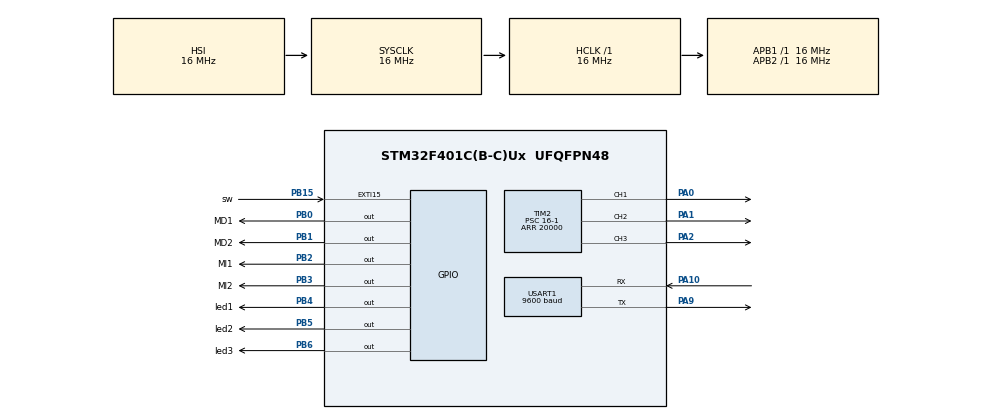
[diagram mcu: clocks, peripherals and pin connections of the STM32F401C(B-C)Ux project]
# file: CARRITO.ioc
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Mcu.Family=STM32F4
Mcu.Name=STM32F401C(B-C)Ux
Mcu.Package=UFQFPN48
NVIC.EXTI15_10_IRQn=true\:1\:0\:true\:false\:true\:true\:true\:true
NVIC.PriorityGroup=NVIC_PRIORITYGROUP_4
NVIC.TIM1_UP_TIM10_IRQn=true\:2\:0\:true\:false\:true\:true\:true\:true
PA0-WKUP.Signal=S_TIM2_CH1_ETR
PA1.Signal=S_TIM2_CH2
PA10.Mode=Asynchronous
PA10.Signal=USART1_RX
PA2.Signal=S_TIM2_CH3
PA9.Mode=Asynchronous
PA9.Signal=USART1_TX
PB0.GPIO_Label=MD1
PB0.Signal=GPIO_Output
PB1.GPIO_Label=MD2
PB1.Signal=GPIO_Output
PB15.GPIO_Label=sw
PB15.GPIO_ModeDefaultEXTI=GPIO_MODE_IT_RISING
PB15.GPIO_PuPd=GPIO_PULLUP
PB15.Signal=GPXTI15
PB2.GPIO_Label=MI1
PB2.Signal=GPIO_Output
PB3.GPIO_Label=MI2
PB3.Signal=GPIO_Output
PB4.GPIO_Label=led1
PB4.Signal=GPIO_Output
PB5.GPIO_Label=led2
PB5.Signal=GPIO_Output
PB6.GPIO_Label=led3
PB6.Signal=GPIO_Output
ProjectManager.HeapSize=0x200
ProjectManager.StackSize=0x400
ProjectManager.TargetToolchain=STM32CubeIDE
RCC.AHBFreq_Value=16000000
RCC.APB1Freq_Value=16000000
RCC.APB2Freq_Value=16000000
RCC.CortexFreq_Value=16000000
RCC.HSE_VALUE=25000000
RCC.HSI_VALUE=16000000
RCC.LSE_VALUE=32768
RCC.SYSCLKFreq_VALUE=16000000
RCC.VCOOutputFreq_Value=192000000
SH.S_TIM2_CH1_ETR.0=TIM2_CH1,PWM Generation1 CH1
SH.S_TIM2_CH2.0=TIM2_CH2,PWM Generation2 CH2
SH.S_TIM2_CH3.0=TIM2_CH3,PWM Generation3 CH3
TIM1.AutoReloadPreload=TIM_AUTORELOAD_PRELOAD_ENABLE
TIM1.Period=6400
TIM1.Prescaler=500-1
TIM2.Channel-PWM\ Generation1\ CH1=TIM_CHANNEL_1
TIM2.Channel-PWM\ Generation2\ CH2=TIM_CHANNEL_2
TIM2.Channel-PWM\ Generation3\ CH3=TIM_CHANNEL_3
TIM2.Period=20000
TIM2.Prescaler=16-1
USART1.BaudRate=9600
USART1.VirtualMode=VM_ASYNC
VP_TIM1_VS_ClockSourceINT.Mode=Internal
VP_TIM2_VS_ClockSourceINT.Mode=Internal
board=custom

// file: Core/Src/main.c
/* USER CODE BEGIN Header */
/**
  ******************************************************************************
  * @file           : main.c
  * @brief          : Main program body
  ******************************************************************************
  * @attention
  *
  * Copyright (c) 2023 STMicroelectronics.
  * All rights reserved.
  *
  * This software is licensed under terms that can be found in the LICENSE file
  * in the root directory of this software component.
  * If no LICENSE file comes with this software, it is provided AS-IS.
  *
  ******************************************************************************
  */
/* USER CODE END Header */
#include "main.h"

/* USER CODE BEGIN Includes */
#include "uart.h"
#include "servos.h"
#include "PWM.h"
#include "delays.h"
#include "stdio.h"
#include "string.h"

/* USER CODE END Includes */

TIM_HandleTypeDef htim1;
TIM_HandleTypeDef htim2;

UART_HandleTypeDef huart1;

/* USER CODE BEGIN PV */

uint8_t trama_rx[100];
uint8_t texto[100];
uint8_t captura[30];
int8_t  valor;

/* USER CODE END PV */

void SystemClock_Config(void);
static void MX_GPIO_Init(void);
static void MX_TIM2_Init(void);
static void MX_USART1_UART_Init(void);
static void MX_TIM1_Init(void);
/* USER CODE BEGIN PFP */

void md_atras()
{
HAL_GPIO_WritePin(MD1_GPIO_Port, MD1_Pin, 0);
HAL_GPIO_WritePin(MD2_GPIO_Port, MD2_Pin, 1);

}

void md_adelante()
{
HAL_GPIO_WritePin(MD1_GPIO_Port, MD1_Pin, 1);
HAL_GPIO_WritePin(MD2_GPIO_Port, MD2_Pin, 0);

}

void md_stop()
{
	HAL_GPIO_WritePin(MD1_GPIO_Port, MD1_Pin, 0);
	HAL_GPIO_WritePin(MD2_GPIO_Port, MD2_Pin, 0);

}

void mi_adelante()
{
HAL_GPIO_WritePin(MI1_GPIO_Port, MI1_Pin, 0);
HAL_GPIO_WritePin(MI2_GPIO_Port, MI2_Pin, 1);

}

void mi_atras()
{
HAL_GPIO_WritePin(MI1_GPIO_Port, MI1_Pin, 1);
HAL_GPIO_WritePin(MI2_GPIO_Port, MI2_Pin, 0);

}

void mi_stop()
{
	HAL_GPIO_WritePin(MI1_GPIO_Port, MI1_Pin, 0);
	HAL_GPIO_WritePin(MI2_GPIO_Port, MI2_Pin, 0);

}

void ADELANTE()
{
md_adelante();
mi_adelante();
}

void ATRAS()
{
md_atras();
mi_atras();
}

void DERECHA()
{
md_atras();
mi_adelante();

}

void IZQUIERDA()
{
md_adelante();
mi_atras();

}

void QUIETO ()
{
md_stop();
mi_stop();
}

void procesarx()
{
	if (strstr(trama_rx,"ADEL")) ADELANTE();
	else if (strstr(trama_rx,"ATRA")) ATRAS();
	else if (strstr(trama_rx,"STOP")) QUIETO();
	else if (strstr(trama_rx,"DER"))
		{
		DERECHA();
		HAL_Delay(50);
		QUIETO();
		}
	else if (strstr(trama_rx,"IZQ"))
		{
		IZQUIERDA();
		HAL_Delay(50);
	    QUIETO();
		}

	else if (strstr(trama_rx,"VEL="))
	{
      strcpy(texto, strtok(trama_rx, "="));  //inicia captura de tokens
      strcpy(texto, strtok(0, "/"));  //captura primer dato
       valor=atoi(texto);
        pwm_valor(&PWM1, valor);
         pwm_valor(&PWM2, valor);

       	}

	else if (strstr(trama_rx,"SER="))
		{
	      strcpy(texto, strtok(trama_rx, "="));  //inicia captura de tokens
	      strcpy(texto, strtok(0, "/"));  //captura primer dato
	       valor=atoi(texto);
	       SERVO_ANG(&SERVO1, valor);

	       	}

}

/* USER CODE END PFP */

int main(void)
{

  /* MCU Configuration--------------------------------------------------------*/

  /* Reset of all peripherals, Initializes the Flash interface and the Systick. */
  HAL_Init();

  /* Configure the system clock */
  SystemClock_Config();

  /* Initialize all configured peripherals */
  MX_GPIO_Init();
  MX_TIM2_Init();
  MX_USART1_UART_Init();
  MX_TIM1_Init();
  /* USER CODE BEGIN 2 */
  PWM_init(&PWMT2, PWM1_CH); //INICIA DEL TIMER1 EL CANALPWM1
  PWM_init(&PWMT2, PWM2_CH); //INICIA DEL TIMER 1 EL CANAL PWM2

   pwm_valor(&PWM1,100);
   pwm_valor(&PWM2, 100);

   SERVO_init(&PWMT2, SERVO1_CH);

   SERVO_ANG(&SERVO1, 0);

 uartx_write_text(&huart1, "INICIANDO\r\n");
  /* USER CODE END 2 */

  /* Infinite loop */
  /* USER CODE BEGIN WHILE */
 HAL_TIM_Base_Start_IT(&htim1);
  while (1)
  {
	  uartx_read_text(&huart1, trama_rx, '*',50);//bloqueante
	    // uartx_write_text(&huart1, trama_rx);

	      procesarx();

	    //  HAL_GPIO_TogglePin(led1_GPIO_Port, led1_Pin);

    /* USER CODE END WHILE */

  }
}

void SystemClock_Config(void)
{
  RCC_OscInitTypeDef RCC_OscInitStruct = {0};
  RCC_ClkInitTypeDef RCC_ClkInitStruct = {0};

  /** Configure the main internal regulator output voltage
  */
  __HAL_RCC_PWR_CLK_ENABLE();
  __HAL_PWR_VOLTAGESCALING_CONFIG(PWR_REGULATOR_VOLTAGE_SCALE2);

  /** Initializes the RCC Oscillators according to the specified parameters
  * in the RCC_OscInitTypeDef structure.
  */
  RCC_OscInitStruct.OscillatorType = RCC_OSCILLATORTYPE_HSI;
  RCC_OscInitStruct.HSIState = RCC_HSI_ON;
  RCC_OscInitStruct.HSICalibrationValue = RCC_HSICALIBRATION_DEFAULT;
  RCC_OscInitStruct.PLL.PLLState = RCC_PLL_NONE;
  if (HAL_RCC_OscConfig(&RCC_OscInitStruct) != HAL_OK)
  {
    Error_Handler();
  }

  /** Initializes the CPU, AHB and APB buses clocks
  */
  RCC_ClkInitStruct.ClockType = RCC_CLOCKTYPE_HCLK|RCC_CLOCKTYPE_SYSCLK
                              |RCC_CLOCKTYPE_PCLK1|RCC_CLOCKTYPE_PCLK2;
  RCC_ClkInitStruct.SYSCLKSource = RCC_SYSCLKSOURCE_HSI;
  RCC_ClkInitStruct.AHBCLKDivider = RCC_SYSCLK_DIV1;
  RCC_ClkInitStruct.APB1CLKDivider = RCC_HCLK_DIV1;
  RCC_ClkInitStruct.APB2CLKDivider = RCC_HCLK_DIV1;

  if (HAL_RCC_ClockConfig(&RCC_ClkInitStruct, FLASH_LATENCY_0) != HAL_OK)
  {
    Error_Handler();
  }
}

static void MX_TIM1_Init(void)
{

  TIM_ClockConfigTypeDef sClockSourceConfig = {0};
  TIM_MasterConfigTypeDef sMasterConfig = {0};

  htim1.Instance = TIM1;
  htim1.Init.Prescaler = 500-1;
  htim1.Init.CounterMode = TIM_COUNTERMODE_UP;
  htim1.Init.Period = 6400;
  htim1.Init.ClockDivision = TIM_CLOCKDIVISION_DIV1;
  htim1.Init.RepetitionCounter = 0;
  htim1.Init.AutoReloadPreload = TIM_AUTORELOAD_PRELOAD_ENABLE;
  if (HAL_TIM_Base_Init(&htim1) != HAL_OK)
  {
    Error_Handler();
  }
  sClockSourceConfig.ClockSource = TIM_CLOCKSOURCE_INTERNAL;
  if (HAL_TIM_ConfigClockSource(&htim1, &sClockSourceConfig) != HAL_OK)
  {
    Error_Handler();
  }
  sMasterConfig.MasterOutputTrigger = TIM_TRGO_RESET;
  sMasterConfig.MasterSlaveMode = TIM_MASTERSLAVEMODE_DISABLE;
  if (HAL_TIMEx_MasterConfigSynchronization(&htim1, &sMasterConfig) != HAL_OK)
  {
    Error_Handler();
  }

}

static void MX_TIM2_Init(void)
{

  TIM_ClockConfigTypeDef sClockSourceConfig = {0};
  TIM_MasterConfigTypeDef sMasterConfig = {0};
  TIM_OC_InitTypeDef sConfigOC = {0};

  htim2.Instance = TIM2;
  htim2.Init.Prescaler = 16-1;
  htim2.Init.CounterMode = TIM_COUNTERMODE_UP;
  htim2.Init.Period = 20000;
  htim2.Init.ClockDivision = TIM_CLOCKDIVISION_DIV1;
  htim2.Init.AutoReloadPreload = TIM_AUTORELOAD_PRELOAD_DISABLE;
  if (HAL_TIM_Base_Init(&htim2) != HAL_OK)
  {
    Error_Handler();
  }
  sClockSourceConfig.ClockSource = TIM_CLOCKSOURCE_INTERNAL;
  if (HAL_TIM_ConfigClockSource(&htim2, &sClockSourceConfig) != HAL_OK)
  {
    Error_Handler();
  }
  if (HAL_TIM_PWM_Init(&htim2) != HAL_OK)
  {
    Error_Handler();
  }
  sMasterConfig.MasterOutputTrigger = TIM_TRGO_RESET;
  sMasterConfig.MasterSlaveMode = TIM_MASTERSLAVEMODE_DISABLE;
  if (HAL_TIMEx_MasterConfigSynchronization(&htim2, &sMasterConfig) != HAL_OK)
  {
    Error_Handler();
  }
  sConfigOC.OCMode = TIM_OCMODE_PWM1;
  sConfigOC.Pulse = 0;
  sConfigOC.OCPolarity = TIM_OCPOLARITY_HIGH;
  sConfigOC.OCFastMode = TIM_OCFAST_DISABLE;
  if (HAL_TIM_PWM_ConfigChannel(&htim2, &sConfigOC, TIM_CHANNEL_1) != HAL_OK)
  {
    Error_Handler();
  }
  if (HAL_TIM_PWM_ConfigChannel(&htim2, &sConfigOC, TIM_CHANNEL_2) != HAL_OK)
  {
    Error_Handler();
  }
  if (HAL_TIM_PWM_ConfigChannel(&htim2, &sConfigOC, TIM_CHANNEL_3) != HAL_OK)
  {
    Error_Handler();
  }
  HAL_TIM_MspPostInit(&htim2);

}

static void MX_USART1_UART_Init(void)
{

  huart1.Instance = USART1;
  huart1.Init.BaudRate = 9600;
  huart1.Init.WordLength = UART_WORDLENGTH_8B;
  huart1.Init.StopBits = UART_STOPBITS_1;
  huart1.Init.Parity = UART_PARITY_NONE;
  huart1.Init.Mode = UART_MODE_TX_RX;
  huart1.Init.HwFlowCtl = UART_HWCONTROL_NONE;
  huart1.Init.OverSampling = UART_OVERSAMPLING_16;
  if (HAL_UART_Init(&huart1) != HAL_OK)
  {
    Error_Handler();
  }

}

static void MX_GPIO_Init(void)
{
  GPIO_InitTypeDef GPIO_InitStruct = {0};

  /* GPIO Ports Clock Enable */
  __HAL_RCC_GPIOA_CLK_ENABLE();
  __HAL_RCC_GPIOB_CLK_ENABLE();

  /*Configure GPIO pin Output Level */
  HAL_GPIO_WritePin(GPIOB, MD1_Pin|MD2_Pin|MI1_Pin|MI2_Pin
                          |led1_Pin|led2_Pin|led3_Pin, GPIO_PIN_RESET);

  /*Configure GPIO pins : MD1_Pin MD2_Pin MI1_Pin MI2_Pin
                           led1_Pin led2_Pin led3_Pin */
  GPIO_InitStruct.Pin = MD1_Pin|MD2_Pin|MI1_Pin|MI2_Pin
                          |led1_Pin|led2_Pin|led3_Pin;
  GPIO_InitStruct.Mode = GPIO_MODE_OUTPUT_PP;
  GPIO_InitStruct.Pull = GPIO_NOPULL;
  GPIO_InitStruct.Speed = GPIO_SPEED_FREQ_LOW;
  HAL_GPIO_Init(GPIOB, &GPIO_InitStruct);

  /*Configure GPIO pin : sw_Pin */
  GPIO_InitStruct.Pin = sw_Pin;
  GPIO_InitStruct.Mode = GPIO_MODE_IT_RISING;
  GPIO_InitStruct.Pull = GPIO_PULLUP;
  HAL_GPIO_Init(sw_GPIO_Port, &GPIO_InitStruct);

  /* EXTI interrupt init*/
  HAL_NVIC_SetPriority(EXTI15_10_IRQn, 1, 0);
  HAL_NVIC_EnableIRQ(EXTI15_10_IRQn);

}

void Error_Handler(void)
{
  __disable_irq();
  while (1)
  {
  }
}
